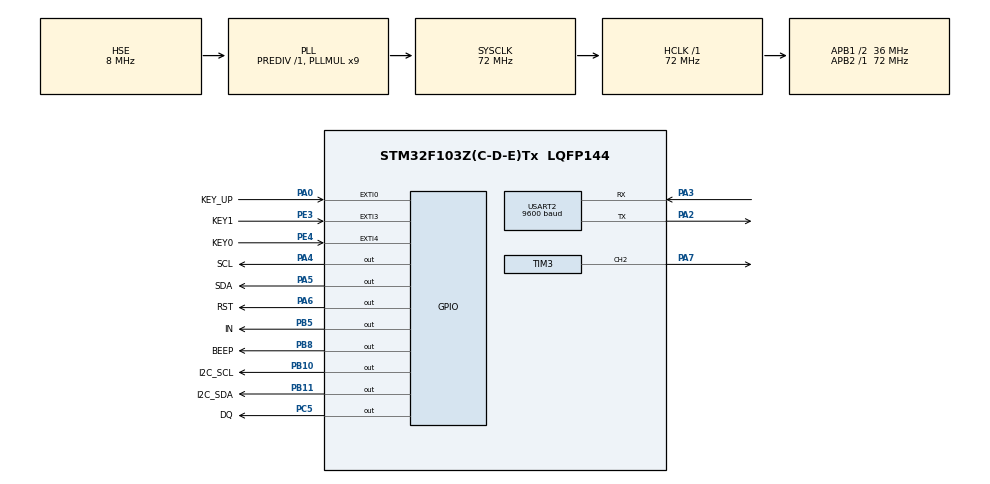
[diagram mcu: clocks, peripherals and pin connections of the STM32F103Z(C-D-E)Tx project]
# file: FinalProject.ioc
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Mcu.Family=STM32F1
Mcu.Name=STM32F103Z(C-D-E)Tx
Mcu.Package=LQFP144
NVIC.EXTI0_IRQn=true\:0\:0\:false\:false\:true\:true\:true\:true
NVIC.EXTI3_IRQn=true\:1\:1\:true\:false\:true\:true\:true\:true
NVIC.EXTI4_IRQn=true\:2\:2\:true\:false\:true\:true\:true\:true
NVIC.PriorityGroup=NVIC_PRIORITYGROUP_2
NVIC.TIM3_IRQn=true\:0\:0\:false\:false\:true\:true\:true\:true
NVIC.USART2_IRQn=true\:0\:0\:false\:false\:true\:true\:true\:true
OSC_IN.Mode=HSE-External-Oscillator
OSC_IN.Signal=RCC_OSC_IN
OSC_OUT.Mode=HSE-External-Oscillator
OSC_OUT.Signal=RCC_OSC_OUT
PA0-WKUP.GPIO_Label=KEY_UP
PA0-WKUP.GPIO_PuPd=GPIO_PULLDOWN
PA0-WKUP.Signal=GPXTI0
PA13.Mode=Serial_Wire
PA13.Signal=SYS_JTMS-SWDIO
PA14.Mode=Serial_Wire
PA14.Signal=SYS_JTCK-SWCLK
PA2.Mode=Asynchronous
PA2.Signal=USART2_TX
PA3.Mode=Asynchronous
PA3.Signal=USART2_RX
PA4.GPIO_Label=SCL
PA4.GPIO_Speed=GPIO_SPEED_FREQ_HIGH
PA4.Signal=GPIO_Output
PA5.GPIO_Label=SDA
PA5.GPIO_Speed=GPIO_SPEED_FREQ_HIGH
PA5.Signal=GPIO_Output
PA6.GPIO_Label=RST
PA6.GPIO_Speed=GPIO_SPEED_FREQ_HIGH
PA6.Signal=GPIO_Output
PA7.Signal=S_TIM3_CH2
PB10.GPIO_Label=I2C_SCL
PB10.GPIO_Speed=GPIO_SPEED_FREQ_HIGH
PB10.PinState=GPIO_PIN_SET
PB10.Signal=GPIO_Output
PB11.GPIO_Label=I2C_SDA
PB11.GPIO_Speed=GPIO_SPEED_FREQ_HIGH
PB11.PinState=GPIO_PIN_SET
PB11.Signal=GPIO_Output
PB5.GPIO_Label=IN
PB5.GPIO_Speed=GPIO_SPEED_FREQ_HIGH
PB5.PinState=GPIO_PIN_SET
PB5.Signal=GPIO_Output
PB8.GPIO_Label=BEEP
PB8.Signal=GPIO_Output
PC5.GPIO_Label=DQ
PC5.PinState=GPIO_PIN_SET
PC5.Signal=GPIO_Output
PE3.GPIO_Label=KEY1
PE3.GPIO_ModeDefaultEXTI=GPIO_MODE_IT_FALLING
PE3.GPIO_PuPd=GPIO_PULLUP
PE3.Signal=GPXTI3
PE4.GPIO_Label=KEY0
PE4.GPIO_ModeDefaultEXTI=GPIO_MODE_IT_FALLING
PE4.GPIO_PuPd=GPIO_PULLUP
PE4.Signal=GPXTI4
ProjectManager.HeapSize=0x200
ProjectManager.StackSize=0x400
ProjectManager.TargetToolchain=MDK-ARM V5.32
RCC.AHBFreq_Value=72000000
RCC.APB1CLKDivider=RCC_HCLK_DIV2
RCC.APB1Freq_Value=36000000
RCC.APB1TimFreq_Value=72000000
RCC.APB2Freq_Value=72000000
RCC.APB2TimFreq_Value=72000000
RCC.HCLKFreq_Value=72000000
RCC.PLLMUL=RCC_PLL_MUL9
RCC.PLLSourceVirtual=RCC_PLLSOURCE_HSE
RCC.SYSCLKFreq_VALUE=72000000
RCC.SYSCLKSource=RCC_SYSCLKSOURCE_PLLCLK
RCC.USBFreq_Value=72000000
SH.S_TIM3_CH2.0=TIM3_CH2,PWM Generation2 CH2
TIM1.Prescaler=72-1
TIM3.Channel-PWM\ Generation2\ CH2=TIM_CHANNEL_2
TIM3.OCPolarity_2=TIM_OCPOLARITY_LOW
TIM3.Period=999
TIM3.Prescaler=72-1
USART2.BaudRate=9600
USART2.VirtualMode=VM_ASYNC
VP_TIM1_VS_ClockSourceINT.Mode=Internal
VP_TIM3_VS_ClockSourceINT.Mode=Internal
board=custom

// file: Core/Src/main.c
/* USER CODE BEGIN Header */
/**
  ******************************************************************************
  * @file           : main.c
  * @brief          :
  * @attention      : 2025 STM32温度监测系统--嘉庚学院实践周课设
  *
  * Copyright (c)
  ******************************************************************************
  */
/* USER CODE END Header */
#include "main.h"
#include "tim.h"
#include "usart.h"
#include "gpio.h"

/* USER CODE BEGIN Includes */
#include "delay_us.h"    // 微秒级延时函数
#include "ds1302.h"      // DS1302实时时钟驱动
#include "oled.h"        // OLED显示屏驱动
#include "ds18b20.h"     // DS18B20温度传感器驱动
#include "hal_iic.h"     // I2C通信协议驱动
#include "string.h"      // 字符串操作库
#include "stdio.h"       // 标准输入输出库
/* USER CODE END Includes */

/* USER CODE BEGIN PD */
#define WEEK_DAY 7  // 一周天数常量（未使用，保留）
/* USER CODE END PD */

/* USER CODE BEGIN PV */
float temperature;                  // DS18B20传感器实时读取的温度值（单位：°C）
char strff[32];                     // OLED显示用的温度字符串缓冲区（格式：":X.XC"）
uint8_t PageOffset, ColOffset, CharNum;  // OLED显示坐标偏移量（Page: 页地址，Col: 列地址）
uint8_t mode = 0;                   // 界面模式（0:实时数据 1:历史记录 2:蓝牙设置 3:参数设置）
int Head, Point;                    // 温度值的整数部分和小数部分（用于字符串格式化）
int refreshing = 0;                 // 界面刷新标志（1:需要清屏重绘）
uint8_t start[] = {00, 42, 16, 16, 07, 05, 25};  // DS1302初始化时间数组（格式：秒,分,时,日,月,周,年）
int runningFun = 0;                 // 设备运行状态（0:关闭 1:开启）
int quitAlarming = 0;               // 报警状态标志（0:未报警 1:报警中 2:手动停止）
/*
uint8_t RxFlag = 0;                 // UART接收标志（未使用，保留）
uint8_t RxBuf;                      // UART接收缓存（未使用，保留）
*/
uint8_t rf = 0;                     // 蓝牙数据接收完成标志（1:接收到新数据）
uint8_t str[256];                   // 蓝牙接收数据缓冲区（存储蓝牙指令）

// 当天温度记录结构体（仅保留单日数据）
typedef struct {
    uint8_t day;                  // 当前日期（1-31）
    float max_temperature;        // 当日最高温度（°C）
    float min_temperature;        // 当日最低温度（°C）
    uint8_t max_hour;             // 最高温度发生小时（0-23）
    uint8_t max_minute;           // 最高温度发生分钟（0-59）
    uint8_t max_second;           // 最高温度发生秒（0-59）
    uint8_t min_hour;             // 最低温度发生小时（0-23）
    uint8_t min_minute;           // 最低温度发生分钟（0-59）
    uint8_t min_second;           // 最低温度发生秒（0-59）
} DailyTempRecord;
DailyTempRecord todayTemp = {0};    // 当日温度记录实例（初始化为0）

// 蓝牙设置的监测时间段结构体
typedef struct {
    uint8_t start_hour;           // 监测开始小时（0-23）
    uint8_t start_minute;         // 监测开始分钟（0-59）
    uint8_t start_second;         // 监测开始秒（0-59）
    uint8_t end_hour;             // 监测结束小时（0-23）
    uint8_t end_minute;           // 监测结束分钟（0-59）
    uint8_t end_second;           // 监测结束秒（0-59）
} BlueToothSettings;
BlueToothSettings blueToothSettings = {0};  // 监测时间段设置实例（初始化为0）

float temperatureThreshold = 30.0f; // 温度报警阈值（超过此值触发报警，单位：°C）
char btResponse[32];                // 蓝牙响应数据缓冲区（返回设置结果）
uint8_t isMonitoring = 1;           // 监测状态标志（1:处于监测时段 0:不在监测时段）
/* USER CODE END PV */

void SystemClock_Config(void);
/* USER CODE BEGIN PFP */
// 简化函数声明（补充功能说明）
int8_t IsNewDay(void);              // 判断是否进入新的一天（基于DS1302日期）
void UpdateData(float temperature); // 更新当天最高/最低温度及发生时间
void Show_Current(void);            // 显示实时数据界面（温度、日期、时间）
void Show_History(void);            // 显示历史记录界面（当日最高/最低温度）
void temperature_monitor(void);     // 核心温度监测逻辑（控制设备及报警）
void Show_BlueTooth(void);          // 显示蓝牙设置界面（接收并处理蓝牙指令）
int8_t Bluetooth(uint8_t *dat);     // 解析蓝牙指令（设置阈值或时间段）
int8_t is_time_in_range(void);      // 检查当前时间是否在设定的监测时段内
void Show_Setting(void);            // 显示参数设置界面（展示监测时段和阈值）
/* USER CODE END PFP */

/**
  * @brief  主函数 - 系统入口点
  * @details 系统初始化流程：
  *          1. HAL库初始化
  *          2. 系统时钟配置
  *          3. 外设初始化（GPIO、定时器、串口）
  *          4. OLED显示屏初始化
  *          5. DS1302实时时钟初始化
  *          6. 启动串口中断接收
  * @note 主循环每200ms执行一次，包含：
  *       - 温度数据采集
  *       - OLED界面刷新
  *       - 设备状态控制
  *       - 蓝牙通信处理
  * @retval int 程序返回状态
  */
int main(void)
{

    /* MCU Configuration--------------------------------------------------------*/

    /* Reset of all peripherals, Initializes the Flash interface and the Systick. */
    HAL_Init();

    /* Configure the system clock */
    SystemClock_Config();

    /* Initialize all configured peripherals */
    MX_GPIO_Init();
    MX_TIM3_Init();
    MX_TIM1_Init();
    MX_USART2_UART_Init();

    /* USER CODE BEGIN 2 */
    OLED_Init();
    ds1302_init(start);
    HAL_UART_Receive_IT(&huart2, (uint8_t *)&str, 8);

    /* USER CODE END 2 */

    /* Infinite loop */
    /* USER CODE BEGIN WHILE */
    while (1)
    {
        // 读取DS18B20温度
        temperature = DS18B20_GetTemp_SkipRom();
        UpdateData(temperature);
        Head = (int)temperature;
        Point = (int)((temperature - Head) * 10.0);
        sprintf(strff, ":%d.%dC", Head, Point);  // 显示温度
        // 屏幕显示模式

        switch (mode)
        {
            case 0:
                // 默认 展示 当前时间 和 温度 显示 温度监测系统
                // refreshing 用来避免每秒刷新导致闪屏
                if (refreshing)
                    OLED_Clear_Screen();
                refreshing = 0;
                Show_Current();
                break;
            case 1:
                // 展示 当日历史最高温度 和最低温度
                if (refreshing)
                    OLED_Clear_Screen();
                refreshing = 0;
                Show_History();
                break;
            case 2:
                // 蓝牙模式 调试
                if (refreshing)
                    OLED_Clear_Screen();
                refreshing = 0;
                Show_BlueTooth();
                break;
            case 3:
                // 展示 参数设置
                // 监测时间段 和 温度阈值
                if (refreshing)
                    OLED_Clear_Screen();
                refreshing = 0;
                Show_Setting();
                break;
            default:
                break;
        }
        // 温度监测 风扇 工作 和 蜂鸣器报警逻辑
        temperature_monitor();
        // 阻塞型延时 如之后需要添加短时即时性项目

        HAL_Delay(200);

        /* USER CODE END WHILE */

    }
}

void SystemClock_Config(void)
{
    RCC_OscInitTypeDef RCC_OscInitStruct = {0};
    RCC_ClkInitTypeDef RCC_ClkInitStruct = {0};

    /** Initializes the RCC Oscillators according to the specified parameters
    * in the RCC_OscInitTypeDef structure.
    */
    RCC_OscInitStruct.OscillatorType = RCC_OSCILLATORTYPE_HSE;
    RCC_OscInitStruct.HSEState = RCC_HSE_ON;
    RCC_OscInitStruct.HSEPredivValue = RCC_HSE_PREDIV_DIV1;
    RCC_OscInitStruct.HSIState = RCC_HSI_ON;
    RCC_OscInitStruct.PLL.PLLState = RCC_PLL_ON;
    RCC_OscInitStruct.PLL.PLLSource = RCC_PLLSOURCE_HSE;
    RCC_OscInitStruct.PLL.PLLMUL = RCC_PLL_MUL9;
    if (HAL_RCC_OscConfig(&RCC_OscInitStruct) != HAL_OK)
    {
        Error_Handler();
    }

    /** Initializes the CPU, AHB and APB buses clocks
    */
    RCC_ClkInitStruct.ClockType = RCC_CLOCKTYPE_HCLK | RCC_CLOCKTYPE_SYSCLK
                                | RCC_CLOCKTYPE_PCLK1 | RCC_CLOCKTYPE_PCLK2;
    RCC_ClkInitStruct.SYSCLKSource = RCC_SYSCLKSOURCE_PLLCLK;
    RCC_ClkInitStruct.AHBCLKDivider = RCC_SYSCLK_DIV1;
    RCC_ClkInitStruct.APB1CLKDivider = RCC_HCLK_DIV2;
    RCC_ClkInitStruct.APB2CLKDivider = RCC_HCLK_DIV1;

    if (HAL_RCC_ClockConfig(&RCC_ClkInitStruct, FLASH_LATENCY_2) != HAL_OK)
    {
        Error_Handler();
    }
}

/* USER CODE BEGIN 4 */
/**
  * @brief  外部中断回调函数，处理按键事件。
  * @param  GPIO_Pin: 触发中断的 GPIO 引脚（KEY0/KEY1）。
  * @note   KEY0: 短按停止当前报警（仅在报警中有效）
  *         KEY1: 短按切换界面模式（0→1→2→3→0循环）
  */
void HAL_GPIO_EXTI_Callback(uint16_t GPIO_Pin)
{
    if (GPIO_Pin == KEY0_Pin)
    {
        HAL_Delay(50);
        if (quitAlarming == 1)
        {
            quitAlarming++;
            HAL_GPIO_WritePin(BEEP_GPIO_Port, BEEP_Pin, GPIO_PIN_RESET);
        }
    }

    if (GPIO_Pin == KEY1_Pin)
    {
        HAL_Delay(50);
        mode = (mode + 1) % 4; // 只切换模式
        refreshing = 1;
    }
}

/**
  * @brief  更新当天的温度记录（最高/最低温度及发生时间）。
  * @param  temperature: 当前读取到的温度值（°C）。
  * @note   每日0点自动重置记录，仅保留当日数据。
  */
void UpdateData(float temperature)
{
    if (IsNewDay())
    {
        // 新的一天重置记录
        todayTemp.day = TimeSDA.day;
        todayTemp.max_temperature = -100;
        todayTemp.min_temperature = 100;
        todayTemp.max_hour = TimeSDA.hour;
        todayTemp.max_minute = TimeSDA.minute;
        todayTemp.max_second = TimeSDA.second;
        todayTemp.min_hour = TimeSDA.hour;
        todayTemp.min_minute = TimeSDA.minute;
        todayTemp.min_second = TimeSDA.second;
    }
    else
    {
        // 更新当天记录
        if (temperature > todayTemp.max_temperature) {
            todayTemp.max_temperature = temperature;
            // 记录当前时间
            ds1302_read_realTime(); // 确保读取最新时间
            todayTemp.max_hour = TimeSDA.hour;
            todayTemp.max_minute = TimeSDA.minute;
            todayTemp.max_second = TimeSDA.second;
        }
        else if (temperature < todayTemp.min_temperature) {
            todayTemp.min_temperature = temperature;
            todayTemp.min_hour = TimeSDA.hour;
            todayTemp.min_minute = TimeSDA.minute;
            todayTemp.min_second = TimeSDA.second;
        }
    }
}

/**
  * @brief  判断是否为新的一天（基于DS1302实时时钟的日期）。
  * @retval 1: 是新的一天；0: 不是新的一天。
  */
int8_t IsNewDay()
{
    static uint8_t last_day = 0;
    ds1302_read_realTime();
    uint8_t current_day = TimeSDA.day;
    if (current_day != last_day)
    {
        last_day = current_day;
        return 1;
    }
    return 0;
}

/**
  * @brief  显示当前实时信息，包括温度、日期和时间。
  * @retval None
  */
void Show_Current()
{
    PageOffset = 0, ColOffset = 0;
    // 第一行显示温度监测系统
    for (CharNum = 0; CharNum < 6; CharNum++)
    {
        OLED_Display_Char_16X16(PageOffset, ColOffset, CharNum);
        ColOffset += 16;
    }

    ds1302_read_realTime();
    // 打印年月日和当前时间
    OLED_Display_String_8X16(2, 0, (uint8_t *)DS1302_data_1);
    OLED_Display_String_8X16(4, 0, (uint8_t *)DS1302_data_2);

    // 打印温度
    // 显示中文温度两个字
    PageOffset = 6, ColOffset = 0;
    for (CharNum = 0; CharNum < 2; CharNum++)
    {
        OLED_Display_Char_16X16(PageOffset, ColOffset, CharNum);
        ColOffset += 16;
    }
    OLED_Display_String_8X16(6, 32, (uint8_t *)strff);
}

/**
  * @brief  显示当天的温度历史记录，包括最高和最低温度及其时间。
  * @retval None
  */
void Show_History()
{
    char temp_str[32];

    // 显示当天记录
    sprintf(temp_str, "Today:%d", todayTemp.day );
    OLED_Display_String_8X16(0, 0, (uint8_t *)temp_str);

    // 最高温度显示
    sprintf(temp_str, "H:%.1fC %02d:%02d",
            todayTemp.max_temperature,
            todayTemp.max_hour,
            todayTemp.max_minute);
    OLED_Display_String_8X16(2, 0, (uint8_t *)temp_str);

    // 最低温度显示
    sprintf(temp_str, "L:%.1fC %02d:%02d",
            todayTemp.min_temperature,
            todayTemp.min_hour,
            todayTemp.min_minute);
    OLED_Display_String_8X16(4, 0, (uint8_t *)temp_str);

    PageOffset = 6, ColOffset = 0;
    // 打印历史记录显示
    for (CharNum = 6; CharNum < 12; CharNum++)
    {
        OLED_Display_Char_16X16(PageOffset, ColOffset, CharNum);
        ColOffset += 16;
    }
}

/**
  * @brief  处理蓝牙指令，设置温度阈值和时段。
  * @param  dat: 接收到的蓝牙数据。
  * @retval 1: 指令处理成功；0: 指令无效。
  */
int8_t Bluetooth(uint8_t *dat) {
    char cmd[32] = {0}; // 初始化缓冲区为 0
    float temp;
    uint8_t h1, m1, h2, m2;
    // 打印接收到的数据用于调试
    char debug_msg[100];
    sprintf(debug_msg, "Received data: %.*s\n", 8, dat); // 只打印前 8 个字符用于调试
    HAL_UART_Transmit(&huart2, (uint8_t *)debug_msg, strlen(debug_msg), 100);

    // 手动添加字符串结束符
    for (int i = 0; i < 8; i++) {
        if (dat[i] == '\0') break;
        cmd[i] = dat[i];
    }
    cmd[8] = '\0'; // 确保字符串以 '\0' 结尾

    // 温度阈值设置指令
    if (strncmp(cmd, "temp", 4) == 0) {
        if (sscanf(cmd + 4, "%f", &temp) == 1) {
            temperatureThreshold = temp;
            sprintf(btResponse, "TEMP SET:%.1f", temperatureThreshold);
            HAL_UART_Transmit(&huart2, (uint8_t *)btResponse, strlen(btResponse), 100);
            OLED_Display_String_8X16(4, 56, (uint8_t *)"OK");
            quitAlarming=0;
            HAL_GPIO_WritePin(BEEP_GPIO_Port,BEEP_Pin, GPIO_PIN_RESET);
            return 1;
        }
    }
    // 时段设置指令 格式: 09301830
    else if (strlen(cmd) == 8) {
        if (sscanf(cmd, "%02hhu%02hhu%02hhu%02hhu", &h1, &m1, &h2, &m2) == 4) {
            if (h1 < 24 && m1 < 60 && h2 < 24 && m2 < 60) {
                blueToothSettings.start_hour = h1;
                blueToothSettings.start_minute = m1;
                blueToothSettings.start_second = 0;
                blueToothSettings.end_hour = h2;
                blueToothSettings.end_minute = m2;
                blueToothSettings.end_second = 0;

                sprintf(btResponse, "TIME SET:%02hhu:%02hhu:00-%02hhu:%02hhu:00",
                       h1, m1, h2, m2);
                HAL_UART_Transmit(&huart2, (uint8_t *)btResponse, strlen(btResponse), 100);
                OLED_Display_String_8X16(4, 56, (uint8_t *)"OK");
                return 1;
            }
        }
    }

    strcpy(btResponse, "ERR:INVALID CMD");
    HAL_UART_Transmit(&huart2, (uint8_t *)btResponse, strlen(btResponse), 100);
    OLED_Display_String_8X16(4, 56, (uint8_t *)"ERR");
    return 0;
}

/**
  * @brief  检查当前时间是否在设定的监测时间段内。
  * @retval 1: 在时间段内；0: 不在时间段内。
  */
int8_t is_time_in_range() {
    ds1302_read_realTime();
    uint32_t current_sec = TimeSDA.hour * 3600 + TimeSDA.minute * 60 + TimeSDA.second;
    uint32_t start_sec = blueToothSettings.start_hour * 3600 +
                        blueToothSettings.start_minute * 60 +
                        blueToothSettings.start_second;
    uint32_t end_sec = blueToothSettings.end_hour * 3600 +
                      blueToothSettings.end_minute * 60 +
                      blueToothSettings.end_second;

    // 处理跨天情况
    if (end_sec < start_sec) {
        return (current_sec >= start_sec) || (current_sec <= end_sec);
    }
    return (current_sec >= start_sec) && (current_sec <= end_sec);
}

/**
  * @brief  温度监测函数 - 实时控制风扇和蜂鸣器
  * @details 根据当前温度与阈值的关系，智能控制风扇和蜂鸣器
  *          - 温度 < 阈值-1°C：关闭风扇和蜂鸣器
  *          - 阈值-1°C ≤ 温度 < 阈值：启动风扇，关闭蜂鸣器
  *          - 温度 ≥ 阈值：启动风扇和蜂鸣器（可手动关闭）
  * @note 使用状态机确保设备状态变化时立即响应，避免延迟
  * @retval None
  */
void temperature_monitor()
{
    // 检查时间段
    if (blueToothSettings.start_hour != 0 || blueToothSettings.end_hour != 0) {
        isMonitoring = is_time_in_range();
    }

    if (!isMonitoring) {
        // 不在监测时段时关闭所有设备
        HAL_GPIO_WritePin(IN_GPIO_Port, IN_Pin, GPIO_PIN_SET);
        HAL_GPIO_WritePin(BEEP_GPIO_Port, BEEP_Pin, GPIO_PIN_RESET);
        runningFun = 0;
        quitAlarming = 0;
        return;
    }

    // 温度低于阈值时，强制停止报警（新增逻辑）和解除被锁的蜂鸣器
    if (temperature < temperatureThreshold) {
        quitAlarming=0;
    }

    // 温度控制逻辑 - 修复响应延迟问题
    static float lastTemperature = 0;
    static uint8_t fanState = 0;
    static uint8_t alarmState = 0;

    // 立即响应温度变化
    if (temperature < temperatureThreshold - 1) {
        if (fanState != 0) {
            fanState = 0;
            runningFun = 0;
            HAL_GPIO_WritePin(IN_GPIO_Port, IN_Pin, GPIO_PIN_SET);
            HAL_TIM_PWM_Stop(&htim3, TIM_CHANNEL_2);
        }
        if (alarmState != 0) {
            alarmState = 0;
            HAL_GPIO_WritePin(BEEP_GPIO_Port, BEEP_Pin, GPIO_PIN_RESET);
        }
    }
    else if (temperature >= temperatureThreshold) {
        if (fanState != 1) {
            fanState = 1;
            runningFun = 1;
            HAL_GPIO_WritePin(IN_GPIO_Port, IN_Pin, GPIO_PIN_RESET);
            HAL_TIM_PWM_Start(&htim3, TIM_CHANNEL_2);
            __HAL_TIM_SET_COMPARE(&htim3, TIM_CHANNEL_2, 1000);
        }
        if (alarmState != 1 && quitAlarming != 2) {
            alarmState = 1;
            quitAlarming = 1;
            HAL_GPIO_WritePin(BEEP_GPIO_Port, BEEP_Pin, GPIO_PIN_SET);
        }
    }
    else if (temperature >= temperatureThreshold - 1 && temperature < temperatureThreshold) {
        if (fanState != 1) {
            fanState = 1;
            runningFun = 1;
            HAL_GPIO_WritePin(IN_GPIO_Port, IN_Pin, GPIO_PIN_RESET);
            HAL_TIM_PWM_Start(&htim3, TIM_CHANNEL_2);
            __HAL_TIM_SET_COMPARE(&htim3, TIM_CHANNEL_2, 1000);
        }
        if (alarmState != 0) {
            alarmState = 0;
            HAL_GPIO_WritePin(BEEP_GPIO_Port, BEEP_Pin, GPIO_PIN_RESET);
        }
    }

    lastTemperature = temperature;
}

/**
  * @brief  显示蓝牙设置界面，处理蓝牙接收的数据。
  * @retval None
  */
void Show_BlueTooth()
{
    PageOffset = 0, ColOffset = 0;
    // 第一行显示
    for (CharNum = 12; CharNum < 14; CharNum++)
    {
        OLED_Display_Char_16X16(PageOffset, ColOffset, CharNum);
        ColOffset += 16;
    }
    OLED_Display_String_8X16(2, 0, "Rec:");
    ColOffset += 32;
    if (rf == 1)
    {
        rf = 0;
        // 接收到字符串
        OLED_Display_String_8X16(2, 32, (uint8_t *)str);
        OLED_Display_String_8X16(4, 0, "result:");
        Bluetooth(str);

        HAL_UART_Receive_IT(&huart2, (uint8_t *)&str, 8);
    }
}
/**
  * @brief  显示设置界面，展示时间段和温度阈值。
  * @retval None
  */
void Show_Setting()
{
    char temp_str[32];
    PageOffset = 0, ColOffset = 0;
    // 第一行显示
    for (CharNum = 14; CharNum < 16; CharNum++)
    {
        OLED_Display_Char_16X16(PageOffset, ColOffset, CharNum);
        ColOffset += 16;
    }

    // 显示时间段开始时间
    sprintf(temp_str, "Start: %02d:%02d",
            blueToothSettings.start_hour, blueToothSettings.start_minute);
    OLED_Display_String_8X16(2, 0, (uint8_t *)temp_str);

    // 显示时间段结束时间
    sprintf(temp_str, "End: %02d:%02d",
            blueToothSettings.end_hour, blueToothSettings.end_minute);
    OLED_Display_String_8X16(4, 0, (uint8_t *)temp_str);

    // 显示温度阈值
    sprintf(temp_str, "Temp: %.1f°C", temperatureThreshold);
    OLED_Display_String_8X16(6, 0, (uint8_t *)temp_str);
}
/**
  * @brief  UART 接收完成回调函数，处理蓝牙数据接收。
  * @param  huart: UART 句柄。
  * @retval None
  */
void HAL_UART_RxCpltCallback(UART_HandleTypeDef *huart)
{
    if (huart == &huart2)
    {
        // 确保接收到的数据有正确的结束符
        str[8] = '\0';
        rf = 1;
        HAL_UART_Receive_IT(&huart2, (uint8_t *)&str, 8);
    }
}
/* USER CODE END 4 */

void Error_Handler(void)
{
    __disable_irq();
    while (1)
    {
    }
}
